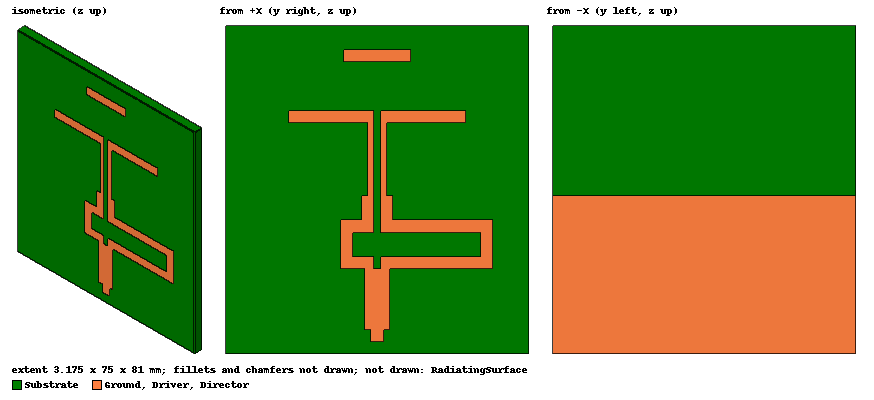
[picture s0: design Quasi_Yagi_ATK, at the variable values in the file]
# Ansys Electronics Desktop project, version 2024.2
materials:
  vacuum: permittivity=1
  Rogers: permittivity=10.2

design Quasi_Yagi_ATK (HFSS, HFSS Hybrid Terminal Network, model units mm)
options: Allow_Material_Override Save_Adaptive_support_files open_region{BoundaryType=0 OpFreq=2.25GHz}
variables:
  # --Width Dimensions
  Wdir = 3mm
  Wdri = 3mm
  W1 = 3mm
  W2 = 6mm
  W3 = 3mm
  W4 = 3mm
  W5 = 3mm
  W6 = 1.5mm
  # --Length Dimensions
  Ldir = 16.5mm
  Ldri = 43.5mm
  L1 = 16.5mm
  L2 = 7.5mm
  L3 = 24mm
  L4 = 9mm
  L5 = 7.5mm
  # --Spacing Dimensions
  Sdir = 15mm
  Sref = 19.5mm
  Ssub = 7.5mm
  S5 = 1.5mm
  S6 = 1.5mm
  # --Substrate Dimensions
  Substrate_Th = 3.175mm
  Substrate_Width = 75mm
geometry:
  Substrate [Rogers] = box(corner=(0mm, -Substrate_Width/2, 0mm), size=(-Substrate_Th, Substrate_Width, -(Ssub+Sdir+Sref+L5+L4+L1+2*W1)))
  Ground = rectangle(corner=(-Substrate_Th, -Substrate_Width/2, -(L5+L4+L1+2*W1)-Ssub-Sdir-Sref), y_size=Substrate_Width, z_size=(L5+L4+L1+2*W1))
  Director = rectangle(corner=(0mm, -Ldir/2, (-Wdir/2)-Ssub), y_size=Ldir, z_size=Wdir)
  Driver = rectangle(corner=(0mm, -Ldri/2, (-Wdri/2)-Ssub-Sdir), y_size=Ldri, z_size=Wdri)
  NewObject_C8R3FB = rectangle(corner=(0mm, -S6/2, (-Wdri/2)-Ssub-Sdir), y_size=S6, z_size=Wdri)
  NewObject_RK7LWU = rectangle(corner=(0mm, -(2*W6+S6)/2, -Ssub-Sdir-Sref), y_size=(2*W6+S6), z_size=Sref)
  NewObject_JVRP9U = rectangle(corner=(0mm, -S6/2, -Ssub-Sdir-Sref), y_size=S6, z_size=Sref)
  NewObject_L54683 = rectangle(corner=(0mm, -(2*W5+S5)/2, (W3/2)-sSub-Sdir-Sref-L5), y_size=(2*W5+S5), z_size=L5-(W3/2))
  NewObject_1MLUWC = rectangle(corner=(0mm, -S5/2, -sSub-Sdir-Sref-L5), y_size=S5, z_size=L5)
  NewObject_WEMH53 = rectangle(corner=(0mm, -S5/2, (-W3/2)-sSub-Sdir-Sref-L5), y_size=S5, z_size=W3)
  NewObject_IPT40X = rectangle(corner=(0mm, -(L2+W4/2), (-W3/2)-Ssub-Sdir-Sref-L5), y_size=L2+L3+2*W4, z_size=W3)
  NewObject_9MHQV8 = rectangle(corner=(0mm, -(S5/2), (-W3/2)-Ssub-Sdir-Sref-L5-L4), y_size=S5, z_size=W3)
  NewObject_9HP0Z3 = rectangle(corner=(0mm, -(L2+W4/2), (-W3/2)-Ssub-Sdir-Sref-L5-L4), y_size=L2+L3+2*W4, z_size=W3)
  NewObject_QDASEZ = rectangle(corner=(0mm, -(L2+W4/2), (-W3/2)-Ssub-Sdir-Sref-L5-L4), y_size=W4, z_size=L2+1.5*W3)
  NewObject_04U3XR = rectangle(corner=(0mm, (L3+W4/2), (-W3/2)-Ssub-Sdir-Sref-L5-L4), y_size=W4, z_size=L2+1.5*W3)
  NewObject_IPT40X.unite(NewObject_9HP0Z3, NewObject_QDASEZ, NewObject_04U3XR)
  NewObject_IPT40X.subtract(NewObject_WEMH53, NewObject_9MHQV8)
  NewObject_IPT40X1 = rectangle(corner=(0mm, -(L2+W4/2), (-W3/2)-Ssub-Sdir-Sref-L5), y_size=L2+L3+2*W4, z_size=W3)
  NewObject_9HP0Z4 = rectangle(corner=(0mm, -(L2+W4/2), (-W3/2)-Ssub-Sdir-Sref-L5-L4), y_size=L2+L3+2*W4, z_size=W3)
  NewObject_QDASEZ1 = rectangle(corner=(0mm, -(L2+W4/2), (-W3/2)-Ssub-Sdir-Sref-L5-L4), y_size=W4, z_size=L2+1.5*W3)
  NewObject_04U3XR1 = rectangle(corner=(0mm, (L3+W4/2), (-W3/2)-Ssub-Sdir-Sref-L5-L4), y_size=W4, z_size=L2+1.5*W3)
  NewObject_IPT40X1.unite(NewObject_9HP0Z4, NewObject_QDASEZ1, NewObject_04U3XR1)
  NewObject_WEMH54 = rectangle(corner=(0mm, -S5/2, (-W3/2)-sSub-Sdir-Sref-L5), y_size=S5, z_size=W3)
  NewObject_9MHQV9 = rectangle(corner=(0mm, -(S5/2), (-W3/2)-Ssub-Sdir-Sref-L5-L4), y_size=S5, z_size=W3)
  NewObject_IPT40X1.subtract(NewObject_WEMH54, NewObject_9MHQV9)
  NewObject_IPT40X.thicken(1mm)
  NewObject_IPT40X.chamfer(Edges=NewObject_IPT40X.edge(at (0.5, -9, -60), at (0.5, -9, -48), at (0.5, 28.5, -60), at (0.5, 28.5, -48)) LeftDistance=W4 RightDistance=W4 ChamferType=Symmetric ChamferAdditionalGeometryInfo{ChamferEdgeGeometryInfo{ChamferEdgeID=354 ChamferEdgeSense ChamferEdgeStart{X=4.8243679e-16mm Y=-9mm Z=-48mm} ChamferEdgeEnd{X=1mm Y=-9mm Z=-48mm} ChamferEdgeMid{X=0.5mm Y=-9mm Z=-48mm} ChamferEdgeMidTangent(1, -6.123234e-17, -1.6081226e-16)} ChamferEdgeGeometryInfo{ChamferEdgeID=355 ChamferEdgeSense ChamferEdgeStart{X=0mm Y=-9mm Z=-60mm} ChamferEdgeEnd{X=1mm Y=-9mm Z=-60mm} ChamferEdgeMid{X=0.5mm Y=-9mm Z=-60mm} ChamferEdgeMidTangent(1, -6.123234e-17, -1.6081226e-16)} ChamferEdgeGeometryInfo{ChamferEdgeID=358 ChamferEdgeSense ChamferEdgeStart{X=2.2962127e-15mm Y=28.5mm Z=-60mm} ChamferEdgeEnd{X=1mm Y=28.5mm Z=-60mm} ChamferEdgeMid{X=0.5mm Y=28.5mm Z=-60mm} ChamferEdgeMidTangent(1, -6.123234e-17, -1.6081226e-16)} ChamferEdgeGeometryInfo{ChamferEdgeID=359 ChamferEdgeSense ChamferEdgeStart{X=2.7786495e-15mm Y=28.5mm Z=-48mm} ChamferEdgeEnd{X=1mm Y=28.5mm Z=-48mm} ChamferEdgeMid{X=0.5mm Y=28.5mm Z=-48mm} ChamferEdgeMidTangent(1, -6.123234e-17, -1.6081226e-16)}})
  NewObject_IPT40X.chamfer(Edges=NewObject_IPT40X.edge(at (0.5, -0.75, -51), at (0.5, 0.75, -51), at (0.5, -0.75, -57), at (0.5, 0.75, -57)) LeftDistance=W3 RightDistance=W3 ChamferType=Symmetric ChamferAdditionalGeometryInfo{ChamferEdgeGeometryInfo{ChamferEdgeID=352 ChamferEdgeSense ChamferEdgeStart{X=5.051668e-16mm Y=-0.75mm Z=-51mm} ChamferEdgeEnd{X=1mm Y=-0.75mm Z=-51mm} ChamferEdgeMid{X=0.5mm Y=-0.75mm Z=-51mm} ChamferEdgeMidTangent(1, -6.123234e-17, -1.6081226e-16)} ChamferEdgeGeometryInfo{ChamferEdgeID=357 ChamferEdgeSense ChamferEdgeStart{X=9.876036e-16mm Y=-0.75mm Z=-57mm} ChamferEdgeEnd{X=1mm Y=-0.75mm Z=-57mm} ChamferEdgeMid{X=0.5mm Y=-0.75mm Z=-57mm} ChamferEdgeMidTangent(1, -6.123234e-17, -1.6081226e-16)} ChamferEdgeGeometryInfo{ChamferEdgeID=361 ChamferEdgeSense ChamferEdgeStart{X=5.9701531e-16mm Y=0.75mm Z=-51mm} ChamferEdgeEnd{X=1mm Y=0.75mm Z=-51mm} ChamferEdgeMid{X=0.5mm Y=0.75mm Z=-51mm} ChamferEdgeMidTangent(1, -6.123234e-17, -1.6081226e-16)} ChamferEdgeGeometryInfo{ChamferEdgeID=364 ChamferEdgeSense ChamferEdgeStart{X=1.0794521e-15mm Y=0.75mm Z=-57mm} ChamferEdgeEnd{X=1mm Y=0.75mm Z=-57mm} ChamferEdgeMid{X=0.5mm Y=0.75mm Z=-57mm} ChamferEdgeMidTangent(1, -6.123234e-17, -1.6081226e-16)}})
  NewObject_IPT40X1.intersect(NewObject_IPT40X)
  NewObject_CN9EAS = rectangle(corner=(0mm, -W2/2, -Ssub-Sdir-Sref-L5-L4-L1), y_size=W2, z_size=L1-(W3/2))
  NewObject_ZJX4TP = rectangle(corner=(0mm, -W1/2, -W1-Ssub-Sdir-Sref-L5-L4-L1), y_size=W1, z_size=W1)
  Driver.unite(NewObject_RK7LWU, NewObject_L54683, NewObject_CN9EAS, NewObject_ZJX4TP, NewObject_IPT40X1)
  Driver.subtract(NewObject_C8R3FB, NewObject_JVRP9U, NewObject_1MLUWC)
  port1 = rectangle(corner=(0mm, -W1/2, -W1-Ssub-Sdir-Sref-L5-L4-L1), x_size=-Substrate_Th, y_size=W1)
  RadiatingSurface [vacuum] = region(absolute_offset=44.444444mm on all sides)
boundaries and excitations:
  antennaMetal: Perfect E Objects=[Director, Driver]
  groundMetal: Perfect E Objects=Ground
  AutoOpen1: Radiation Objects=RadiatingSurface
  Driver_T1: Terminal port=1 Edges=Driver.edge(at (0, 0, -78)) TerminalResistance=50ohm
  1: Lumped Port Faces=port1.face LumpedPortType=Terminal Impedance=50ohm
  reference conductors: Ground
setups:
  ATK_Solution: HfssDriven Frequency=2.25GHz MaxDeltaS=0.02 MaximumPasses=15 MinimumPasses=1 MinimumConvergedPasses=1 PercentRefinement=30 BasisOrder=1 PortAccuracy=2 DrivenSolverType="Direct Solver" IESolverType=ACA
    sweep FF_Sweep: 1GHz to 3GHz step 0.005GHz; Type=Fast SaveFields
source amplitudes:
  1:1: 1V 0deg
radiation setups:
  3D: Infinite Sphere Theta=0deg..180deg step 2deg Phi=-180deg..180deg step 2deg
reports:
  S11: dB(St(Driver_T1,Driver_T1)) vs Freq on ATK_Solution : FF_Sweep
  Gain Plot 4: dB(GainTotal) vs Theta on ATK_Solution : FF_Sweep, 3D [Phi=90deg Freq=2.25GHz]
  Gain Plot 5: dB(GainTotal) vs Theta on ATK_Solution : FF_Sweep, 3D [Phi=0deg Freq=2.25GHz]
